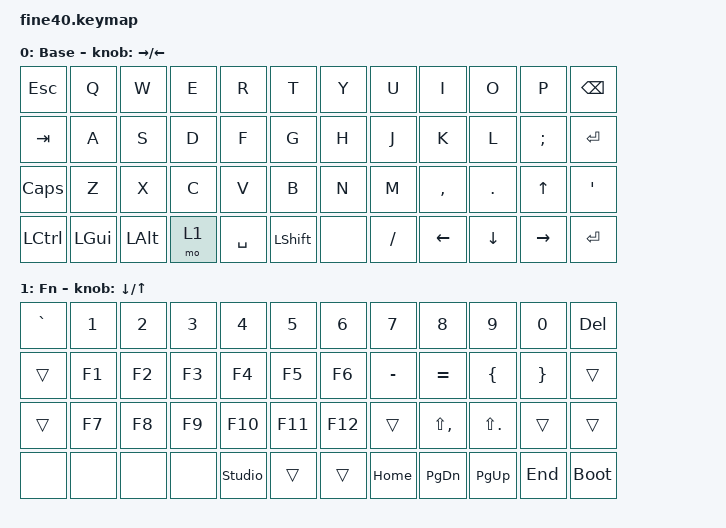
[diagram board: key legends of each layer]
/*
 * fine!40 — 2-layer keymap
 *
 * Mirrors the live ZMK Studio layout as of 2026-08-07, so the compiled
 * fallback matches what's actually on the board. Derived from Aidan Smith's
 * original 4-layer keymap (2021).
 *
 * SPDX-License-Identifier: MIT
 *
 * While this board is managed through ZMK Studio, edits to the bindings below
 * do NOT reach the device — Studio's saved settings take precedence. They only
 * apply after a "Restore Stock Settings" in Studio. What DOES take effect
 * regardless is the encoder sensor-bindings, since Studio cannot configure
 * encoders.
 *
 * Layer count is kept at 4 (2 real + 2 reserved) to match the previous build,
 * so Studio's stored layer state maps across cleanly.
 */

#include <behaviors.dtsi>
#include <dt-bindings/zmk/keys.h>

/ {
    // Encoder convention for &inc_dec_kp: first keycode is clockwise
    // (rotate right), second is counter-clockwise (rotate left).
    // If the board is wired the other way round, swap the pair.

    keymap {
        compatible = "zmk,keymap";

        default_layer {
            display-name = "Base";

            // ---------------------------------------------------------------------------------
            // | ESC  |  Q   |  W   |  E   |  R   |  T   |  Y  |  U   |  I   |  O   |  P   | BSPC |
            // | TAB  |  A   |  S   |  D   |  F   |  G   |  H  |  J   |  K   |  L   |  ;   | RET  |
            // | CAPS |  Z   |  X   |  C   |  V   |  B   |  N  |  M   |  ,   |  .   |  UP  |  '   |
            // | LCTL | LGUI | LALT |  FN  | SPC  | SHFT | --- |  /   | LEFT | DOWN | RGHT | RET  |
            // ---------------------------------------------------------------------------------
            // Last key on the bottom row is the encoder push-switch.
            // Arrows form an inverted-T: UP on row 3, LEFT/DOWN/RIGHT on row 4.

            bindings = <
&kp ESC    &kp Q     &kp W     &kp E  &kp R      &kp T      &kp Y  &kp U     &kp I      &kp O     &kp P      &kp BSPC
&kp TAB    &kp A     &kp S     &kp D  &kp F      &kp G      &kp H  &kp J     &kp K      &kp L     &kp SEMI   &kp RET
&kp CAPS   &kp Z     &kp X     &kp C  &kp V      &kp B      &kp N  &kp M     &kp COMMA  &kp DOT   &kp UP     &kp SQT
&kp LCTRL  &kp LGUI  &kp LALT  &mo 1  &kp SPACE  &kp LSHFT  &none  &kp FSLH  &kp LEFT   &kp DOWN  &kp RIGHT  &kp RET
            >;

            // Encoder: CCW = Left arrow, CW = Right arrow.
            sensor-bindings = <&inc_dec_kp RIGHT LEFT>;
        };

        fn_layer {
            display-name = "Fn";

            // ---------------------------------------------------------------------------------
            // |   `   |  1   |  2   |  3  |  4  |  5  |  6  | 7    |  8   |  9   |  0  | DEL   |
            // |  ---  | F1   | F2   | F3  | F4  | F5  | F6  | -    |  =   |  {   |  }  | ---   |
            // |  ---  | F7   | F8   | F9  | F10 | F11 | F12 | ---  |  <   |  >   | --- | ---   |
            // |  ---  | ---  | ---  | --- | UNLK| --- | --- | HOME | PGDN | PGUP | END | BOOT  |
            // ---------------------------------------------------------------------------------
            // Bootloader is on Fn + encoder click.
            // UNLK (&studio_unlock, on Fn + Space) is what unlocks ZMK Studio for editing.
            //
            // The three Bluetooth profile keys used to sit at the start of the
            // bottom row. BLE is compiled out now, so they are free — reserved
            // for the note transfer mode.

            bindings = <
&kp GRAVE  &kp N1   &kp N2   &kp N3  &kp N4          &kp N5   &kp N6   &kp N7     &kp N8         &kp N9       &kp N0    &kp DEL
&trans     &kp F1   &kp F2   &kp F3  &kp F4          &kp F5   &kp F6   &kp MINUS  &kp EQUAL      &kp LBRC     &kp RBRC  &trans
&trans     &kp F7   &kp F8   &kp F9  &kp F10         &kp F11  &kp F12  &trans     &kp LS(COMMA)  &kp LS(DOT)  &trans    &trans
&none      &none    &none    &none   &studio_unlock  &trans   &trans   &kp HOME   &kp PG_DN      &kp PG_UP    &kp END   &bootloader
            >;

            // Encoder: CCW = Up arrow, CW = Down arrow.
            sensor-bindings = <&inc_dec_kp DOWN UP>;
        };

        // Spare layers so ZMK Studio can add more without a reflash.
        // (Studio cannot create layers beyond what devicetree declares.)
    };
};
